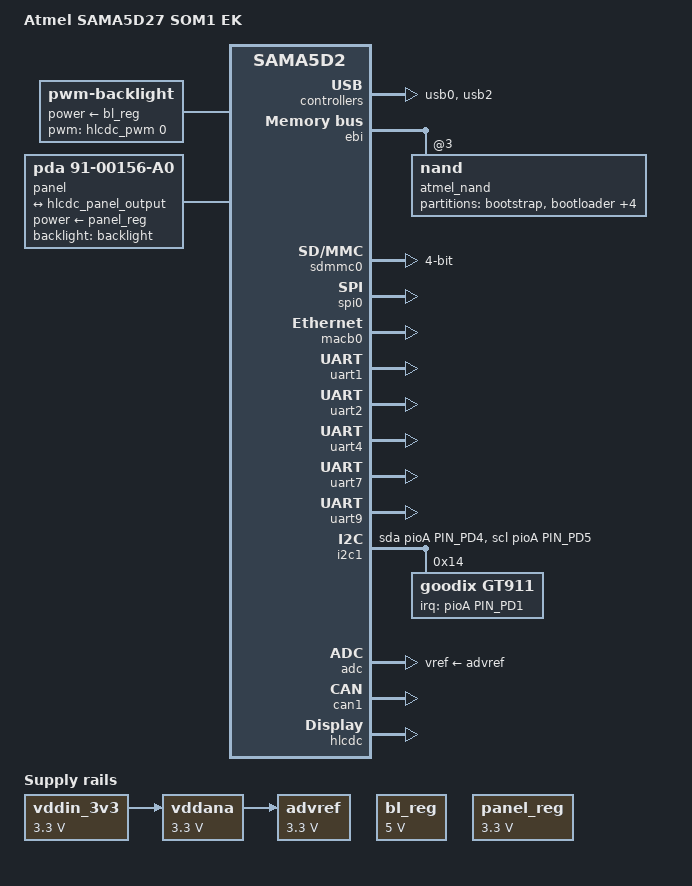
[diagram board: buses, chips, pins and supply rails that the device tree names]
// SPDX-License-Identifier: (GPL-2.0+ OR MIT)
/*
 * at91-sama5d27_som1_ek.dts - Device Tree file for SAMA5D27-SOM1-EK board
 *
 *  Copyright (c) 2017, Microchip Technology Inc.
 *                2016 Nicolas Ferre <nicolas.ferre@atmel.com>
 *                2017 Cristian Birsan <cristian.birsan@microchip.com>
 *                2017 Claudiu Beznea <claudiu.beznea@microchip.com>
 */
/dts-v1/;
#include "at91-sama5d27_som1.dtsi"
#include <dt-bindings/mfd/atmel-flexcom.h>
#include <dt-bindings/gpio/gpio.h>
#include <dt-bindings/input/input.h>
#include <dt-bindings/pinctrl/at91.h>

/ {
	model = "Atmel SAMA5D27 SOM1 EK";
	compatible = "atmel,sama5d27-som1-ek", "atmel,sama5d27-som1", "atmel,sama5d27", "atmel,sama5d2", "atmel,sama5";

	aliases {
		serial0 = &uart1;/* DBGU */
		serial1 = &uart7;/* mikro BUS 1 */	
		serial2 = &uart4;/* mikro BUS 2 */	
		serial3 = &uart9;
		serial4 = &uart2;
		i2c1 = &i2c1;
		i2c2 = &i2c3;
	};

	chosen {
		stdout-path = "serial0:115200n8";
	};

	ahb {
		usb0: gadget@300000 {
			atmel,vbus-gpio = <&pioA PIN_PD20 GPIO_ACTIVE_HIGH>;
			pinctrl-names = "default";
			pinctrl-0 = <&pinctrl_usba_vbus>;
			status = "okay";
		};

		usb1: ohci@400000 {
			num-ports = <3>;
			atmel,vbus-gpio = <0 /* &pioA PIN_PD20 GPIO_ACTIVE_HIGH */
					   &pioA PIN_PA27 GPIO_ACTIVE_HIGH
					   0
					  >;
			pinctrl-names = "default";
			pinctrl-0 = <&pinctrl_usb_default>;
			status = "disabled";
		};

		usb2: ehci@500000 {
			status = "okay";
		};

		ebi: ebi@10000000 {
			pinctrl-names = "default";
			pinctrl-0 = <&pinctrl_nand_default>;
			status = "okay"; /* conflicts with sdmmc1 and qspi0 */

			nand_controller: nand-controller {
				status = "okay";

				nand@3 {
					reg = <0x3 0x0 0x2>;
					atmel,rb = <0>;
					nand-bus-width = <8>;
					nand-ecc-mode = "hw";
					nand-on-flash-bbt;
					label = "atmel_nand";

					partitions {
						compatible = "fixed-partitions";
						#address-cells = <1>;
						#size-cells = <1>;

						at91bootstrap@0 {
							label = "bootstrap";
							reg = <0x0 0x40000>;
						};

						bootloader@40000 {
							label = "bootloader";
							reg = <0x40000 0xc0000>;
						};

						bootloaderenv@140000 {
							label = "bootloader env";
							reg = <0x140000 0x40000>;
						};

						dtb@180000 {
							label = "device tree";
							reg = <0x180000 0x80000>;
						};

						kernel@200000 {
							label = "kernel";
							reg = <0x200000 0x600000>;
						};

						rootfs@800000 {
							label = "rootfs";
							reg = <0x800000 0x1f800000>;
						};
					};
				};
			};
		};

		sdmmc0: sdio-host@a0000000 {
			bus-width = <4>;
			pinctrl-names = "default";
			pinctrl-0 = <&pinctrl_sdmmc0_default>;
			status = "okay";
		};

		sdmmc1: sdio-host@b0000000 {
			bus-width = <4>;
			pinctrl-names = "default";
			pinctrl-0 = <&pinctrl_sdmmc1_default>;
			status = "disabled";
		};

		apb {
			isc: isc@f0008000 {
				pinctrl-names = "default";
				pinctrl-0 = <&pinctrl_isc_base &pinctrl_isc_data_8bit &pinctrl_isc_data_9_10 &pinctrl_isc_data_11_12>;
			};

			qspi1: spi@f0024000 {
				status = "disabled";
			};

			spi0: spi@f8000000 {
				pinctrl-names = "default";
				pinctrl-0 = <&pinctrl_spi0_default>;
				status = "okay";
			};

			macb0: ethernet@f8008000 {
				status = "okay";
			};

			tcb0: timer@f800c000 {
				timer0: timer@0 {
					compatible = "atmel,tcb-timer";
					reg = <0>;
				};

				timer1: timer@1 {
					compatible = "atmel,tcb-timer";
					reg = <1>;
				};
			};

			uart1: serial@f8020000 {
				pinctrl-names = "default";
				pinctrl-0 = <&pinctrl_uart1_default>;
				atmel,use-dma-rx;
				atmel,use-dma-tx;
				status = "okay";
			};

			uart2: serial@f8024000 {
				pinctrl-names = "default";
				pinctrl-0 = <&pinctrl_mikrobus2_uart>;
				atmel,use-dma-rx;
				atmel,use-dma-tx;
				status = "okay";
			};

			pwm0: pwm@f802c000 {
				pinctrl-names = "default";
				pinctrl-0 = <&pinctrl_mikrobus1_pwm &pinctrl_mikrobus2_pwm>;
				status = "disabled"; /* Conflict with leds. */
			};

			flx1: flexcom@f8038000 {
				atmel,flexcom-mode = <ATMEL_FLEXCOM_MODE_TWI>;
				status = "disabled";

				i2c3: i2c@600 {
					dmas = <0>, <0>;
					i2c-analog-filter;
					i2c-digital-filter;
					i2c-digital-filter-width-ns = <35>;
					pinctrl-names = "default", "gpio";
					pinctrl-0 = <&pinctrl_mikrobus_i2c>;
					pinctrl-1 = <&pinctrl_i2c3_gpio>;
					sda-gpios = <&pioA PIN_PA24 GPIO_ACTIVE_HIGH>;
					scl-gpios = <&pioA PIN_PA23 (GPIO_ACTIVE_HIGH | GPIO_OPEN_DRAIN)>;
					status = "disabled";
				};
			};

			poweroff@f8048010 {
				debounce-delay-us = <976>;
				atmel,wakeup-rtc-timer;

				input@0 {
					reg = <0>;
				};
			};

			watchdog@f8048040 {
				status = "okay";
			};

			uart3: serial@fc008000 {
				atmel,use-dma-rx;
				atmel,use-dma-tx;
				pinctrl-names = "default";
				pinctrl-0 = <&pinctrl_uart3_default>;
				status = "disabled"; /* Conflict with isc. */
			};

			uart4: serial@fc00c000 {
				atmel,use-dma-rx;
				atmel,use-dma-tx;
				pinctrl-names = "default";
				pinctrl-0 = <&pinctrl_mikrobus1_uart>;
				status = "okay";
			};
			flx2: flexcom@fc010000 {
				atmel,flexcom-mode = <ATMEL_FLEXCOM_MODE_USART>;
				status = "okay";

				uart7: serial@200 {
					dmas = <0>, <0>;
					pinctrl-names = "default";
					pinctrl-0 = <&pinctrl_flx2_default>;
					status = "okay"; /* Conflict with isc. */
				};

			};

			flx3: flexcom@fc014000 {
				atmel,flexcom-mode = <ATMEL_FLEXCOM_MODE_SPI>;
				status = "disabled";

				uart8: serial@200 {
					dmas = <0>, <0>;
					pinctrl-names = "default";
					pinctrl-0 = <&pinctrl_flx3_default>;
					status = "disabled"; /* Conflict with isc. */
				};

				spi5: spi@400 {
					dmas = <0>, <0>;
					pinctrl-names = "default";
					pinctrl-0 = <&pinctrl_flx3_default>;
					status = "disabled"; /* Conflict with isc. */
				};
			};

			flx4: flexcom@fc018000 {
				atmel,flexcom-mode = <ATMEL_FLEXCOM_MODE_USART>;
				status = "okay";

				uart9: serial@200 {
					dmas = <0>, <0>;
					pinctrl-names = "default";
					pinctrl-0 = <&pinctrl_flx4_default>;
					status = "okay"; /* Conflict with spi6 and i2c6. */
				};

				spi6: spi@400 {
					dmas = <0>, <0>;
					pinctrl-names = "default";
					pinctrl-0 = <&pinctrl_mikrobus_spi &pinctrl_mikrobus1_spi_cs &pinctrl_mikrobus2_spi_cs>;
					status = "disabled"; /* Conflict with uart5 and i2c6. */
				};

				i2c6: i2c@600 {
					dmas = <0>, <0>;
					pinctrl-names = "default";
					pinctrl-0 = <&pinctrl_flx4_default>;
					status = "disabled"; /* Conflict with uart5 and spi6. */
				};
			};

			i2c1: i2c@fc028000 {
				dmas = <0>, <0>;
				i2c-analog-filter;
				i2c-digital-filter;
				i2c-digital-filter-width-ns = <35>;
				pinctrl-names = "default", "gpio";
				pinctrl-0 = <&pinctrl_i2c1_default>;
				pinctrl-1 = <&pinctrl_i2c1_gpio>;
				sda-gpios = <&pioA PIN_PD4 GPIO_ACTIVE_HIGH>;
				scl-gpios = <&pioA PIN_PD5 (GPIO_ACTIVE_HIGH | GPIO_OPEN_DRAIN)>;
				status = "okay";
			};

			adc: adc@fc030000 {
				vddana-supply = <&vddana>;
				vref-supply = <&advref>;
				pinctrl-names = "default";
				pinctrl-0 = <&pinctrl_mikrobus1_an>;

				status = "okay";
			};

			pinctrl@fc038000 {

				pinctrl_can1_default: can1_default {
					pinmux = <PIN_PC26__CANTX1>,
						 <PIN_PC27__CANRX1>;
					bias-disable;
				};

				pinctrl_flx3_default: flx3_default {
					pinmux = <PIN_PC20__FLEXCOM3_IO0>,
						 <PIN_PC19__FLEXCOM3_IO1>,
						 <PIN_PC18__FLEXCOM3_IO2>,
						 <PIN_PC21__FLEXCOM3_IO3>,
						 <PIN_PC22__FLEXCOM3_IO4>;
					bias-disable;
				};
				pinctrl_flx2_default: flx2_default {
					pinmux = <PIN_PD26__FLEXCOM2_IO0>,
						 <PIN_PD27__FLEXCOM2_IO1>,
						 <PIN_PD28__FLEXCOM2_IO2>,
						 <PIN_PD29__FLEXCOM2_IO3>,
						 <PIN_PD30__FLEXCOM2_IO4>;
					bias-disable;
				};

				pinctrl_i2c1_default: i2c1_default {
					pinmux = <PIN_PD4__TWD1>,
						 <PIN_PD5__TWCK1>;
					bias-disable;
				};

				pinctrl_i2c1_gpio: i2c1_gpio {
                                        pinmux = <PIN_PD4__GPIO>,
                                                 <PIN_PD5__GPIO>;
                                        bias-disable;
                                };


				pinctrl_isc_base: isc_base {
					pinmux = <PIN_PC21__ISC_PCK>,
						 <PIN_PC22__ISC_VSYNC>,
						 <PIN_PC23__ISC_HSYNC>,
						 <PIN_PC24__ISC_MCK>;
					bias-disable;
				};

				pinctrl_isc_data_8bit: isc_data_8bit {
					pinmux = <PIN_PC20__ISC_D11>,
						 <PIN_PC19__ISC_D10>,
						 <PIN_PC18__ISC_D9>,
						 <PIN_PC17__ISC_D8>,
						 <PIN_PC16__ISC_D7>,
						 <PIN_PC15__ISC_D6>,
						 <PIN_PC14__ISC_D5>,
						 <PIN_PC13__ISC_D4>;
					bias-disable;
				};

				pinctrl_isc_data_9_10: isc_data_9_10 {
					pinmux = <PIN_PC12__ISC_D3>,
						 <PIN_PC11__ISC_D2>;
					bias-disable;
				};

				pinctrl_isc_data_11_12: isc_data_11_12 {
					pinmux = <PIN_PC10__ISC_D1>,
						 <PIN_PC9__ISC_D0>;
					bias-disable;
				};

				pinctrl_key_gpio_default: key_gpio_default {
					pinmux = <PIN_PA29__GPIO>;
					bias-pull-up;
				};

				pinctrl_led_gpio_default: led_gpio_default {
					pinmux = <PIN_PA10__GPIO>,
						 <PIN_PB1__GPIO>,
						 <PIN_PA31__GPIO>;
					bias-pull-up;
				};

				pinctrl_nand_default: nand_default {
					re_we_data {
						pinmux = <PIN_PA22__D0>,
							 <PIN_PA23__D1>,
							 <PIN_PA24__D2>,
							 <PIN_PA25__D3>,
							 <PIN_PA26__D4>,
							 <PIN_PA27__D5>,
							 <PIN_PA28__D6>,
							 <PIN_PA29__D7>,
							 <PIN_PA30__NWE_NANDWE>,
							 <PIN_PB2__NRD_NANDOE>;
						bias-pull-up;
						atmel,drive-strength = <ATMEL_PIO_DRVSTR_ME>;
					};

					ale_cle_rdy_cs {
						pinmux = <PIN_PB0__A21_NANDALE>,
							 <PIN_PB1__A22_NANDCLE>,
							 <PIN_PA21__NANDRDY>,
							 <PIN_PA31__NCS3>;
						bias-pull-up;
					};
				};

				pinctrl_sdmmc0_default: sdmmc0_default {
					cmd_data {
						pinmux = <PIN_PA1__SDMMC0_CMD>,
							 <PIN_PA2__SDMMC0_DAT0>,
							 <PIN_PA3__SDMMC0_DAT1>,
							 <PIN_PA4__SDMMC0_DAT2>,
							 <PIN_PA5__SDMMC0_DAT3>;
						bias-disable;
					};

					ck_cd_vddsel {
						pinmux = <PIN_PA0__SDMMC0_CK>,
							 <PIN_PA13__SDMMC0_CD>;
						bias-disable;
					};
				};

				pinctrl_sdmmc1_default: sdmmc1_default {
					cmd_data {
						pinmux = <PIN_PA28__SDMMC1_CMD>,
							 <PIN_PA18__SDMMC1_DAT0>,
							 <PIN_PA19__SDMMC1_DAT1>,
							 <PIN_PA20__SDMMC1_DAT2>,
							 <PIN_PA21__SDMMC1_DAT3>;
						bias-disable;
					};

					conf-ck_cd {
						pinmux = <PIN_PA22__SDMMC1_CK>,
							 <PIN_PA30__SDMMC1_CD>;
						bias-disable;
					};
				};

				pinctrl_spi0_default: spi0_default {
					pinmux = <PIN_PA14__SPI0_SPCK>,
						 <PIN_PA15__SPI0_MOSI>,
						 <PIN_PA16__SPI0_MISO>,
						 <PIN_PA17__SPI0_NPCS0>;
					bias-disable;
				};

				pinctrl_uart1_default: uart1_default {
					pinmux = <PIN_PD2__URXD1>,
						 <PIN_PD3__UTXD1>;
					bias-disable;
				};

				pinctrl_uart3_default: uart3_default {
					pinmux = <PIN_PC12__URXD3>,
						 <PIN_PC13__UTXD3>;
					bias-disable;
				};

				pinctrl_usb_default: usb_default {
					pinmux = <PIN_PA27__GPIO>,
						 <PIN_PD19__GPIO>;
					bias-disable;
				};

				pinctrl_usba_vbus: usba_vbus {
					pinmux = <PIN_PD20__GPIO>;
					bias-disable;
				};

				pinctrl_mikrobus1_an: mikrobus1_an {
					pinmux = <PIN_PD25__GPIO>;
					bias-disable;
				};

				pinctrl_mikrobus2_an: mikrobus2_an {
					pinmux = <PIN_PD26__GPIO>;
					bias-disable;
				};

				pinctrl_mikrobus1_rst: mikrobus1_rst {
					pinmux = <PIN_PB2__GPIO>;
					bias-disable;
				};

				pinctrl_mikrobus2_rst: mikrobus2_rst {
					pinmux = <PIN_PA26__GPIO>;
					bias-disable;
				};

				pinctrl_mikrobus1_spi_cs: mikrobus1_spi_cs {
					pinmux = <PIN_PD0__FLEXCOM4_IO4>;
					bias-disable;
				};

				pinctrl_mikrobus2_spi_cs: mikrobus2_spi_cs {
					pinmux = <PIN_PC31__FLEXCOM4_IO3>;
					bias-disable;
				};

				pinctrl_mikrobus_spi: mikrobus_spi {
					pinmux = <PIN_PC28__FLEXCOM4_IO0>,
						 <PIN_PC29__FLEXCOM4_IO1>,
						 <PIN_PC30__FLEXCOM4_IO2>;
					bias-disable;
				};

				pinctrl_mikrobus1_pwm: mikrobus1_pwm {
					pinmux = <PIN_PB1__PWML1>;
					bias-disable;
				};

				pinctrl_mikrobus2_pwm: mikrobus2_pwm {
					pinmux = <PIN_PA31__PWML0>;
					bias-disable;
				};

				pinctrl_mikrobus1_int: mikrobus1_int {
					pinmux = <PIN_PB0__GPIO>;
					bias-disable;
				};

				pinctrl_mikrobus2_int: mikrobus2_int {
					pinmux = <PIN_PA25__GPIO>;
					bias-disable;
				};

				pinctrl_mikrobus1_uart: mikrobus1_uart {
					pinmux = <PIN_PB3__URXD4>,
						 <PIN_PB4__UTXD4>;
					bias-disable;
				};

				pinctrl_mikrobus2_uart: mikrobus2_uart {
					pinmux = <PIN_PD23__URXD2>,
						 <PIN_PD24__UTXD2>;
					bias-disable;
				};

				pinctrl_mikrobus_i2c: mikrobus1_i2c {
					pinmux = <PIN_PA24__FLEXCOM1_IO0>,
						 <PIN_PA23__FLEXCOM1_IO1>;
					bias-disable;
				};

				pinctrl_i2c3_gpio: i2c3_gpio {
					pinmux = <PIN_PA24__GPIO>,
						 <PIN_PA23__GPIO>;
					bias-disable;
				};

				pinctrl_flx4_default: flx4_uart_default {
					pinmux = <PIN_PC28__FLEXCOM4_IO0>,
						 <PIN_PC29__FLEXCOM4_IO1>,
						 <PIN_PC30__FLEXCOM4_IO2>,
						 <PIN_PC31__FLEXCOM4_IO3>,
						 <PIN_PD0__FLEXCOM4_IO4>;
					bias-disable;
				};
			};

			can1: can@fc050000 {
				pinctrl-names = "default";
				pinctrl-0 = <&pinctrl_can1_default>;
				status = "okay";
			};
		};
	};

	gpio-keys {
		compatible = "gpio-keys";

		pinctrl-names = "default";
		pinctrl-0 = <&pinctrl_key_gpio_default>;
		status = "disabled";

		button {
			label = "USER";
			gpios = <&pioA PIN_PA29 GPIO_ACTIVE_LOW>;
			linux,code = <KEY_PROG1>;
			wakeup-source;
		};
	};

	leds {
		compatible = "gpio-leds";
		pinctrl-names = "default";
		pinctrl-0 = <&pinctrl_led_gpio_default>;
		status = "disabled"; /* Conflict with pwm0. */

		led-red {
			label = "red";
			gpios = <&pioA PIN_PA10 GPIO_ACTIVE_HIGH>;
		};

		led-green {
			label = "green";
			gpios = <&pioA PIN_PB1 GPIO_ACTIVE_HIGH>;
		};

		led-blue {
			label = "blue";
			gpios = <&pioA PIN_PA31 GPIO_ACTIVE_HIGH>;
			linux,default-trigger = "heartbeat";
		};
	};

	vddin_3v3: fixed-regulator-vddin_3v3 {
		compatible = "regulator-fixed";

		regulator-name = "VDDIN_3V3";
		regulator-min-microvolt = <3300000>;
		regulator-max-microvolt = <3300000>;
		regulator-always-on;
		regulator-boot-on;
		status = "okay";
	};

	vddana: fixed-regulator-vddana {
		compatible = "regulator-fixed";

		regulator-name = "VDDANA";
		regulator-min-microvolt = <3300000>;
		regulator-max-microvolt = <3300000>;
		regulator-always-on;
		regulator-boot-on;
		vin-supply = <&vddin_3v3>;
		status = "okay";
	};

	advref: fixed-regulator-advref {
		compatible = "regulator-fixed";

		regulator-name = "advref";
		regulator-min-microvolt = <3300000>;
		regulator-max-microvolt = <3300000>;
		regulator-always-on;
		regulator-boot-on;
		vin-supply = <&vddana>;
		status = "okay";
	};
};

&i2c1 {
	#address-cells = <1>;
	#size-cells = <0>;

	
	gt911@14 {
		compatible = "goodix,gt911";
		reg = <0x14>;
		interrupt-parent = <&pioA>;
		interrupts = <PIN_PD1 0x0>;
		irq-gpios = <&pioA PIN_PD1 0>;
		pinctrl-names = "default";
		pinctrl-0 = <&pinctrl_mxt_irq>;
	};
	
};


&hlcdc {
	status = "okay";

	hlcdc-display-controller {
		pinctrl-names = "default";
		pinctrl-0 = <&pinctrl_lcd_base &pinctrl_lcd_rgb>;
		port@0 {
			#address-cells = <1>;
			#size-cells = <0>;
			hlcdc_panel_output: endpoint@0 {
				reg = <0>;
				remote-endpoint = <&panel_input>;
			};
		};
	};

	hlcdc_pwm: hlcdc-pwm {
		pinctrl-names = "default";
		pinctrl-0 = <&pinctrl_lcd_pwm>;
	};
};


&pioA {
	pinctrl_qt1070_irq: pinctrl_qt1070_irq {
		pinmux = <PIN_PC25__GPIO>;
		bias-pull-up;
		input-debounce = <1>;
	};

	pinctrl_mxt_irq: pinctrl_mxt_irq {
		pinmux = <PIN_PD1__GPIO>;
		bias-pull-up;
		input-debounce = <1>;
	};

	pinctrl_lcd_base: pinctrl_lcd_base {
		pinmux = <PIN_PC5__LCDVSYNC>,
			 <PIN_PC6__LCDHSYNC>,
			 <PIN_PC8__LCDDEN>,
			 <PIN_PC7__LCDPCK>;
		bias-disable;
		atmel,drive-strength = <ATMEL_PIO_DRVSTR_ME>;
	};

	pinctrl_lcd_rgb: pinctrl_lcd_rgb {
		pinmux = <PIN_PB11__LCDDAT0>,
			 <PIN_PB12__LCDDAT1>,
			 <PIN_PB13__LCDDAT2>,
			 <PIN_PB14__LCDDAT3>,
			 <PIN_PB15__LCDDAT4>,
			 <PIN_PB16__LCDDAT5>,
			 <PIN_PB17__LCDDAT6>,
			 <PIN_PB18__LCDDAT7>,
			 <PIN_PB19__LCDDAT8>,
			 <PIN_PB20__LCDDAT9>,
			 <PIN_PB21__LCDDAT10>,
			 <PIN_PB22__LCDDAT11>,
			 <PIN_PB23__LCDDAT12>,
			 <PIN_PB24__LCDDAT13>,
			 <PIN_PB25__LCDDAT14>,
			 <PIN_PB26__LCDDAT15>,
			 <PIN_PB27__LCDDAT16>,
			 <PIN_PB28__LCDDAT17>,
			 <PIN_PB29__LCDDAT18>,
			 <PIN_PB30__LCDDAT19>,
			 <PIN_PB31__LCDDAT20>,
			 <PIN_PC0__LCDDAT21>,
			 <PIN_PC1__LCDDAT22>,
			 <PIN_PC2__LCDDAT23>;
		bias-disable;
	};

	pinctrl_lcd_pwm: pinctrl_lcd_pwm {
		pinmux = <PIN_PC3__LCDPWM>;
		bias-disable;
	};
};

&{/} {
	model = "Atmel SAMA5D27 SOM1 EK TM5000";
	backlight: backlight {
		compatible = "pwm-backlight";
		pwms = <&hlcdc_pwm 0 50000 0>;
		brightness-levels = <0 4 8 16 32 64 128 255>;
		default-brightness-level = <7>;
		power-supply = <&bl_reg>;
		status = "okay";
	};

	bl_reg: backlight_regulator {
		compatible = "regulator-fixed";
		regulator-name = "backlight-power-supply";
		regulator-min-microvolt = <5000000>;
		regulator-max-microvolt = <5000000>;
		status = "okay";
	};

	panel: panel {
		compatible = "pda,91-00156-a0", "simple-panel";
		backlight = <&backlight>;
		power-supply = <&panel_reg>;
		#address-cells = <1>;
		#size-cells = <0>;
		status = "okay";

		port@0 {
			reg = <0>;
			#address-cells = <1>;
			#size-cells = <0>;

			panel_input: endpoint@0 {
				reg = <0>;
				remote-endpoint = <&hlcdc_panel_output>;
			};
		};
	};

	panel_reg: panel_regulator {
		compatible = "regulator-fixed";
		regulator-name = "panel-power-supply";
		regulator-min-microvolt = <3300000>;
		regulator-max-microvolt = <3300000>;
		status = "okay";
	};
};
